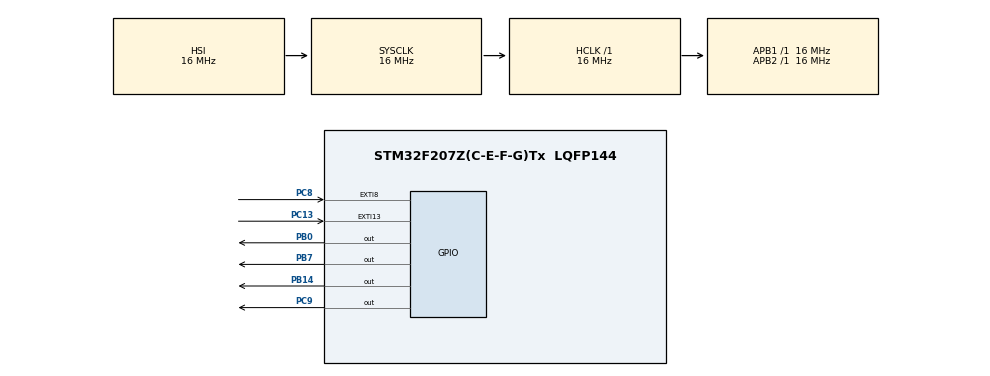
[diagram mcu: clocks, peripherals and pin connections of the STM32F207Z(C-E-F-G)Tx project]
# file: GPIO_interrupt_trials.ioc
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Mcu.Family=STM32F2
Mcu.Name=STM32F207Z(C-E-F-G)Tx
Mcu.Package=LQFP144
NVIC.EXTI15_10_IRQn=true\:0\:0\:false\:false\:true\:true\:true\:true
NVIC.EXTI9_5_IRQn=true\:0\:0\:false\:false\:true\:true\:true\:true
NVIC.PriorityGroup=NVIC_PRIORITYGROUP_4
PB0.Signal=GPIO_Output
PB14.Signal=GPIO_Output
PB7.Signal=GPIO_Output
PC13.GPIO_ModeDefaultEXTI=GPIO_MODE_IT_FALLING
PC13.GPIO_PuPd=GPIO_PULLDOWN
PC13.Signal=GPXTI13
PC8.GPIO_ModeDefaultEXTI=GPIO_MODE_IT_FALLING
PC8.GPIO_PuPd=GPIO_PULLDOWN
PC8.Signal=GPXTI8
PC9.GPIO_PuPd=GPIO_PULLDOWN
PC9.Signal=GPIO_Output
ProjectManager.HeapSize=0x200
ProjectManager.StackSize=0x400
ProjectManager.TargetToolchain=STM32CubeIDE
RCC.48MHZClocksFreq_Value=48000000
RCC.AHBFreq_Value=16000000
RCC.APB1Freq_Value=16000000
RCC.APB2Freq_Value=16000000
RCC.CortexFreq_Value=16000000
RCC.HSE_VALUE=25000000
RCC.HSI_VALUE=16000000
RCC.LSE_VALUE=32768
RCC.SYSCLKFreq_VALUE=16000000
RCC.VCOOutputFreq_Value=192000000
board=custom

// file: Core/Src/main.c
/* USER CODE BEGIN Header */
/**
  ******************************************************************************
  * @file           : main.c
  * @brief          : Main program body
  ******************************************************************************
  * @attention
  *
  * Copyright (c) 2023 STMicroelectronics.
  * All rights reserved.
  *
  * This software is licensed under terms that can be found in the LICENSE file
  * in the root directory of this software component.
  * If no LICENSE file comes with this software, it is provided AS-IS.
  *
  ******************************************************************************
  */
/* USER CODE END Header */
#include "main.h"

/* USER CODE BEGIN PV */
int counter = 0;
int counter2 = 0;
/* USER CODE END PV */

void SystemClock_Config(void);
static void MX_GPIO_Init(void);

/* USER CODE BEGIN 0 */
void HAL_GPIO_EXTI_Callback(uint16_t GPIO_PIN)
{
	if (GPIO_PIN == GPIO_PIN_13)
	{
			counter++;
			  	  if ((counter % 2) == 1)
			  	  {
			  		  HAL_GPIO_TogglePin(GPIOB, GPIO_PIN_0);
			  	  }
	}
	if (GPIO_PIN == GPIO_PIN_8)
	{
		counter2++;
			  	  if ((counter2 % 2) == 1)
			  	  {
			  		  HAL_GPIO_TogglePin(GPIOB, GPIO_PIN_14);
			  	  }
	}
}
/* USER CODE END 0 */

int main(void)
{

  /* MCU Configuration--------------------------------------------------------*/

  /* Reset of all peripherals, Initializes the Flash interface and the Systick. */
  HAL_Init();

  /* Configure the system clock */
  SystemClock_Config();

  /* Initialize all configured peripherals */
  MX_GPIO_Init();

  /* Infinite loop */
  /* USER CODE BEGIN WHILE */
  while (1)
  {
	/*  if (HAL_GPIO_ReadPin(GPIOC, GPIO_PIN_8) ==  GPIO_PIN_SET)
	  {
		  while(HAL_GPIO_ReadPin(GPIOC, GPIO_PIN_8) ==  GPIO_PIN_SET);
		  counter++;
	  	  if (counter % 2 == 1)
	  	  {
	  		  HAL_GPIO_WritePin(GPIOB, GPIO_PIN_7, GPIO_PIN_SET);
	  		 // HAL_Delay(300);
	  	  }
	  	  else
	  	  {
	  		 HAL_GPIO_WritePin(GPIOB, GPIO_PIN_7, GPIO_PIN_RESET);
	  		 //HAL_Delay(300);
	  		 counter = 0;
	  	  }
	 }*/
/*
	 if (HAL_GPIO_ReadPin(GPIOC, GPIO_PIN_8) ==  GPIO_PIN_SET)
	  {
		  HAL_GPIO_WritePin(GPIOB, GPIO_PIN_7, GPIO_PIN_SET);
	  }
	 else
	 {
		 HAL_GPIO_WritePin(GPIOB, GPIO_PIN_7, GPIO_PIN_RESET);
	 }*/
	  HAL_GPIO_WritePin(GPIOB, GPIO_PIN_7,GPIO_PIN_SET);
	  HAL_Delay(500);
	  HAL_GPIO_WritePin(GPIOB, GPIO_PIN_7,GPIO_PIN_RESET);
	  HAL_Delay(500);

    /* USER CODE END WHILE */

  }
}

void SystemClock_Config(void)
{
  RCC_OscInitTypeDef RCC_OscInitStruct = {0};
  RCC_ClkInitTypeDef RCC_ClkInitStruct = {0};

  /** Initializes the RCC Oscillators according to the specified parameters
  * in the RCC_OscInitTypeDef structure.
  */
  RCC_OscInitStruct.OscillatorType = RCC_OSCILLATORTYPE_HSI;
  RCC_OscInitStruct.HSIState = RCC_HSI_ON;
  RCC_OscInitStruct.HSICalibrationValue = RCC_HSICALIBRATION_DEFAULT;
  RCC_OscInitStruct.PLL.PLLState = RCC_PLL_NONE;
  if (HAL_RCC_OscConfig(&RCC_OscInitStruct) != HAL_OK)
  {
    Error_Handler();
  }

  /** Initializes the CPU, AHB and APB buses clocks
  */
  RCC_ClkInitStruct.ClockType = RCC_CLOCKTYPE_HCLK|RCC_CLOCKTYPE_SYSCLK
                              |RCC_CLOCKTYPE_PCLK1|RCC_CLOCKTYPE_PCLK2;
  RCC_ClkInitStruct.SYSCLKSource = RCC_SYSCLKSOURCE_HSI;
  RCC_ClkInitStruct.AHBCLKDivider = RCC_SYSCLK_DIV1;
  RCC_ClkInitStruct.APB1CLKDivider = RCC_HCLK_DIV1;
  RCC_ClkInitStruct.APB2CLKDivider = RCC_HCLK_DIV1;

  if (HAL_RCC_ClockConfig(&RCC_ClkInitStruct, FLASH_LATENCY_0) != HAL_OK)
  {
    Error_Handler();
  }
}

static void MX_GPIO_Init(void)
{
  GPIO_InitTypeDef GPIO_InitStruct = {0};

  /* GPIO Ports Clock Enable */
  __HAL_RCC_GPIOC_CLK_ENABLE();
  __HAL_RCC_GPIOB_CLK_ENABLE();

  /*Configure GPIO pin Output Level */
  HAL_GPIO_WritePin(GPIOB, GPIO_PIN_0|GPIO_PIN_14|GPIO_PIN_7, GPIO_PIN_RESET);

  /*Configure GPIO pin Output Level */
  HAL_GPIO_WritePin(GPIOC, GPIO_PIN_9, GPIO_PIN_RESET);

  /*Configure GPIO pins : PC13 PC8 */
  GPIO_InitStruct.Pin = GPIO_PIN_13|GPIO_PIN_8;
  GPIO_InitStruct.Mode = GPIO_MODE_IT_FALLING;
  GPIO_InitStruct.Pull = GPIO_PULLDOWN;
  HAL_GPIO_Init(GPIOC, &GPIO_InitStruct);

  /*Configure GPIO pins : PB0 PB14 PB7 */
  GPIO_InitStruct.Pin = GPIO_PIN_0|GPIO_PIN_14|GPIO_PIN_7;
  GPIO_InitStruct.Mode = GPIO_MODE_OUTPUT_PP;
  GPIO_InitStruct.Pull = GPIO_NOPULL;
  GPIO_InitStruct.Speed = GPIO_SPEED_FREQ_LOW;
  HAL_GPIO_Init(GPIOB, &GPIO_InitStruct);

  /*Configure GPIO pin : PC9 */
  GPIO_InitStruct.Pin = GPIO_PIN_9;
  GPIO_InitStruct.Mode = GPIO_MODE_OUTPUT_PP;
  GPIO_InitStruct.Pull = GPIO_PULLDOWN;
  GPIO_InitStruct.Speed = GPIO_SPEED_FREQ_LOW;
  HAL_GPIO_Init(GPIOC, &GPIO_InitStruct);

  /* EXTI interrupt init*/
  HAL_NVIC_SetPriority(EXTI9_5_IRQn, 0, 0);
  HAL_NVIC_EnableIRQ(EXTI9_5_IRQn);

  HAL_NVIC_SetPriority(EXTI15_10_IRQn, 0, 0);
  HAL_NVIC_EnableIRQ(EXTI15_10_IRQn);

}

void Error_Handler(void)
{
  __disable_irq();
  while (1)
  {
  }
}
